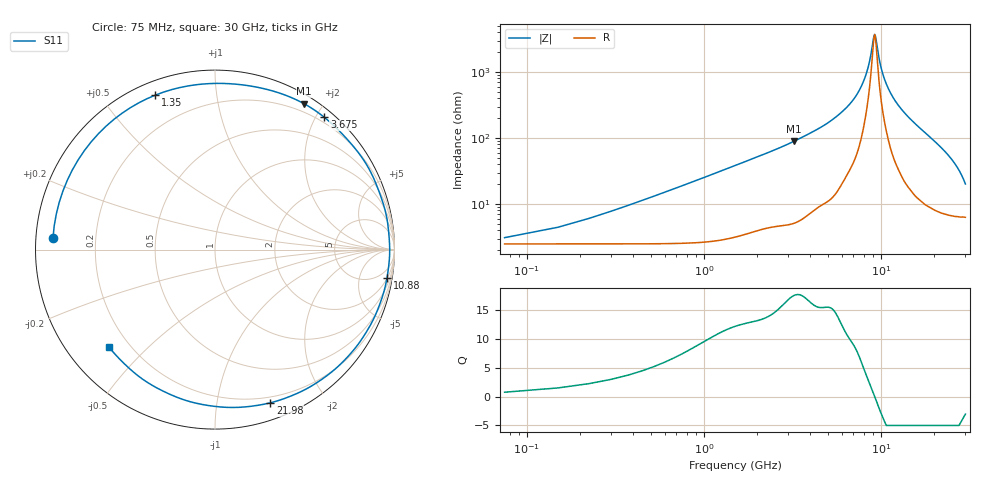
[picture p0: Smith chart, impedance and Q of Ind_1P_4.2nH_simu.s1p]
#  Hz  S  RI  R  50
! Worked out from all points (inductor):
!   400 points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, 75 MHz to 30 GHz, reference 50 ohm
!   read as one part to ground: L = 3.93 nH near 375 MHz
!   highest Q = 17.4 at 3.225 GHz (marker M1), where L = 4.39 nH
!   self-resonance near 9.224 GHz
!   S11 on the Smith chart (normalised r, x): 75 MHz: 0.05, +0.04; 1.35 GHz: 0.06, +0.68; 3.675 GHz: 0.12, +2.12; 10.88 GHz: 2, -12; 21.98 GHz: 0.15, -1.41; 30 GHz: 0.13, -0.38
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7.5e7  -0.9027 0.0669
3.75e8  -0.8475 0.3258
7.5e8  -0.6899 0.6003
1.05e9  -0.518 0.7597
1.35e9  -0.3321 0.8608
1.725e9  -0.1107 0.9179
2.1e9  0.0804 0.9243
2.625e9  0.2995 0.8899
3.225e9  0.4972 0.8122
3.675e9  0.6088 0.7373
3.825e9  0.6394 0.7116
4.575e9  0.7582 0.5901
5.475e9  0.8564 0.4527
6.375e9  0.913 0.3262
7.575e9  0.957 0.1778
9.225e9  0.9734 -9.13e-05
1.0875e10  0.9584 -0.1566
1.1325e10  0.9506 -0.1965
1.3275e10  0.8969 -0.3575
1.5075e10  0.8226 -0.4918
1.7025e10  0.7154 -0.6223
1.8825e10  0.5902 -0.7263
2.1975e10  0.308 -0.8536
2.2575e10  0.2452 -0.8665
2.445e10  0.0342 -0.8771
2.6325e10  -0.1908 -0.8307
2.805e10  -0.3936 -0.7286
3e10  -0.5919 -0.5415
